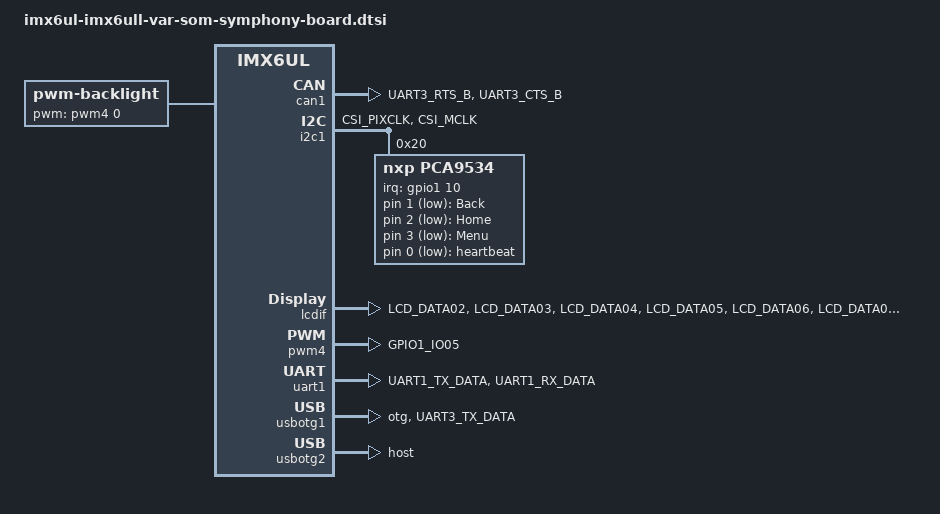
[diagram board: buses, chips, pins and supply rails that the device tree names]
/*
 * Copyright (C) 2019 Variscite Ltd. - https://www.variscite.com
 *
 * This program is free software; you can redistribute it and/or modify
 * it under the terms of the GNU General Public License version 2 as
 * published by the Free Software Foundation.
 */

/ {
	backlight {
		compatible = "pwm-backlight";
		pwms = <&pwm4 0 20000>;
		brightness-levels = <0 4 8 16 32 64 128 255>;
		default-brightness-level = <6>;
		status = "okay";
	};

	chosen {
		stdout-path = &uart1;
	};

	gpio_keys {
		compatible = "gpio-keys";

		back {
			label = "Back";
			gpios = <&pca9534 1 GPIO_ACTIVE_LOW>;
			linux,code = <KEY_BACK>;
		};

		home {
			label = "Home";
			gpios = <&pca9534 2 GPIO_ACTIVE_LOW>;
			linux,code = <KEY_HOME>;
		};

		menu {
			label = "Menu";
			gpios = <&pca9534 3 GPIO_ACTIVE_LOW>;
			linux,code = <KEY_MENU>;
		};
	};

	leds {
		compatible = "gpio-leds";
		status = "okay";

		heartbeat {
			label = "heartbeat";
			gpios = <&pca9534 0 GPIO_ACTIVE_LOW>;
			linux,default-trigger = "heartbeat";
		};
	};
};

&can1 {
	pinctrl-names = "default";
	pinctrl-0 = <&pinctrl_flexcan1>;
	status = "okay";
};

&i2c1 {
	clock_frequency = <100000>;
	pinctrl-names = "default";
	pinctrl-0 = <&pinctrl_i2c1>;
	status = "okay";

	/* GPIO expander */
	pca9534:gpio@20 {
		compatible = "nxp,pca9534";
		reg = <0x20>;
		gpio-controller;
		pinctrl-names = "default";
		pinctrl-0 = <&pinctrl_pca9534>;
		interrupt-parent = <&gpio1>;
		interrupts = <10 IRQ_TYPE_EDGE_FALLING>;
		#gpio-cells = <2>;
		wakeup-source;
	};
};

&iomuxc {
	pinctrl_ft5x06_ts_gpio: ft5x06_ts_gpiogrp {
		fsl,pins = <
			MX6UL_PAD_LCD_DATA01__GPIO3_IO06	0x80000000
		>;
	};

	pinctrl_ecspi4: ecspi4grp {
		fsl,pins = <
			MX6UL_PAD_ENET2_TX_DATA1__ECSPI4_SCLK	0x100b1
			MX6UL_PAD_ENET2_TX_EN__ECSPI4_MOSI	0x100b1
			MX6UL_PAD_ENET2_TX_CLK__ECSPI4_MISO	0x100b1
		>;
	};

	pinctrl_ecspi4_cs: ecspi4csgrp {
		fsl,pins = <
			MX6UL_PAD_ENET2_RX_ER__GPIO2_IO15	0x100b1
		>;
	};

	pinctrl_flexcan1: flexcan1grp {
		fsl,pins = <
			MX6UL_PAD_UART3_RTS_B__FLEXCAN1_RX	0x1b020
			MX6UL_PAD_UART3_CTS_B__FLEXCAN1_TX	0x1b020
		>;
	};

	pinctrl_i2c1: i2c1grp {
		fsl,pins = <
			MX6UL_PAD_CSI_PIXCLK__I2C1_SCL		0x4001b8b0
			MX6UL_PAD_CSI_MCLK__I2C1_SDA		0x4001b8b0
		>;
	};

	pinctrl_i2c3: i2c3grp {
		fsl,pins = <
			MX6UL_PAD_ENET2_RX_DATA0__I2C3_SCL	0x4001b8b0
			MX6UL_PAD_ENET2_RX_DATA1__I2C3_SDA	0x4001b8b0
		>;
	};

	pinctrl_i2c4: i2c4grp {
		fsl,pins = <
			MX6UL_PAD_ENET2_RX_EN__I2C4_SCL		0x4001b8b0
			MX6UL_PAD_ENET2_TX_DATA0__I2C4_SDA	0x4001b8b0
		>;
	};

	pinctrl_lcdif_ctrl: lcdifctrlgrp {
		fsl,pins = <
			MX6UL_PAD_LCD_CLK__LCDIF_CLK		0x79
			MX6UL_PAD_LCD_ENABLE__LCDIF_ENABLE	0x79
		>;
	};

	pinctrl_lcdif_dat: lcdifdatgrp {
		fsl,pins = <
			MX6UL_PAD_LCD_DATA02__LCDIF_DATA02	0x79
			MX6UL_PAD_LCD_DATA03__LCDIF_DATA03	0x79
			MX6UL_PAD_LCD_DATA04__LCDIF_DATA04	0x79
			MX6UL_PAD_LCD_DATA05__LCDIF_DATA05	0x79
			MX6UL_PAD_LCD_DATA06__LCDIF_DATA06	0x79
			MX6UL_PAD_LCD_DATA07__LCDIF_DATA07	0x79
			MX6UL_PAD_LCD_DATA10__LCDIF_DATA10	0x79
			MX6UL_PAD_LCD_DATA11__LCDIF_DATA11	0x79
			MX6UL_PAD_LCD_DATA12__LCDIF_DATA12	0x79
			MX6UL_PAD_LCD_DATA13__LCDIF_DATA13	0x79
			MX6UL_PAD_LCD_DATA14__LCDIF_DATA14	0x79
			MX6UL_PAD_LCD_DATA15__LCDIF_DATA15	0x79
			MX6UL_PAD_LCD_DATA18__LCDIF_DATA18	0x79
			MX6UL_PAD_LCD_DATA19__LCDIF_DATA19	0x79
			MX6UL_PAD_LCD_DATA20__LCDIF_DATA20	0x79
			MX6UL_PAD_LCD_DATA21__LCDIF_DATA21	0x79
			MX6UL_PAD_LCD_DATA22__LCDIF_DATA22	0x79
			MX6UL_PAD_LCD_DATA23__LCDIF_DATA23	0x79
		>;
	};

	pinctrl_pwm4: pwm4grp {
		fsl,pins = <
			MX6UL_PAD_GPIO1_IO05__PWM4_OUT		0x110b0
		>;
	};

	pinctrl_uart1: uart1grp {
		fsl,pins = <
			MX6UL_PAD_UART1_TX_DATA__UART1_DCE_TX	0x1b0b1
			MX6UL_PAD_UART1_RX_DATA__UART1_DCE_RX	0x1b0b1
		>;
	};

	pinctrl_uart7: uart7grp {
		fsl,pins = <
			MX6UL_PAD_LCD_DATA16__UART7_DCE_TX	0x1b0b1
			MX6UL_PAD_LCD_DATA17__UART7_DCE_RX	0x1b0b1
		>;
	};

	pinctrl_usb_otg1_id: usbotg1idgrp {
		fsl,pins = <
			MX6UL_PAD_UART3_TX_DATA__ANATOP_OTG1_ID	0x17059
		>;
	};

	pinctrl_wdog: wdoggrp {
		fsl,pins = <
			MX6UL_PAD_GPIO1_IO01__WDOG1_WDOG_B	0x78b0
		>;
	};

	pinctrl_pca9534: pca9534grp {
		fsl,pins = <
			MX6UL_PAD_JTAG_MOD__GPIO1_IO10		0x17059
		>;
	};
};

&lcdif {
	pinctrl-names = "default";
	pinctrl-0 = <&pinctrl_lcdif_dat
		     &pinctrl_lcdif_ctrl>;
	display = <&display0>;
	status = "okay";

	display0: display {
		bits-per-pixel = <16>;
		bus-width = <24>;

		display-timings {
			native-mode = <&timing0>;
			timing0: timing0 {
				clock-frequency =<35000000>;
				hactive = <800>;
				vactive = <480>;
				hfront-porch = <40>;
				hback-porch = <40>;
				hsync-len = <48>;
				vback-porch = <29>;
				vfront-porch = <13>;
				vsync-len = <3>;
				hsync-active = <0>;
				vsync-active = <0>;
				de-active = <1>;
				pixelclk-active = <0>;
			};
		};
	};
};

&pwm4 {
	#pwm-cells = <2>;
	pinctrl-names = "default";
	pinctrl-0 = <&pinctrl_pwm4>;
	status = "okay";
};

&snvs_pwrkey {
	status = "disabled";
};

&snvs_rtc {
	status = "disabled";
};

&tsc {
	/*
	 * Conflics with wdog1 ext-reset-output & SD CD pins,
	 * so we keep it disabled by default
	 */
	status = "disabled";
};

/* Console UART */
&uart1 {
	pinctrl-names = "default";
	pinctrl-0 = <&pinctrl_uart1>;
	status = "okay";
};

&usbotg1 {
	pinctrl-names = "default";
	pinctrl-0 = <&pinctrl_usb_otg1_id>;
	dr_mode = "otg";
	disable-over-current;
	srp-disable;
	hnp-disable;
	adp-disable;
	status = "okay";
};

&usbotg2 {
	dr_mode = "host";
	disable-over-current;
	status = "okay";
};

&wdog1 {
	pinctrl-names = "default";
	pinctrl-0 = <&pinctrl_wdog>;
	/*
	 * To actually use ext-reset-output
	 * connect pins J17.3 & J17.8 on the Concerto-Board
	 */
	fsl,ext-reset-output;
};
